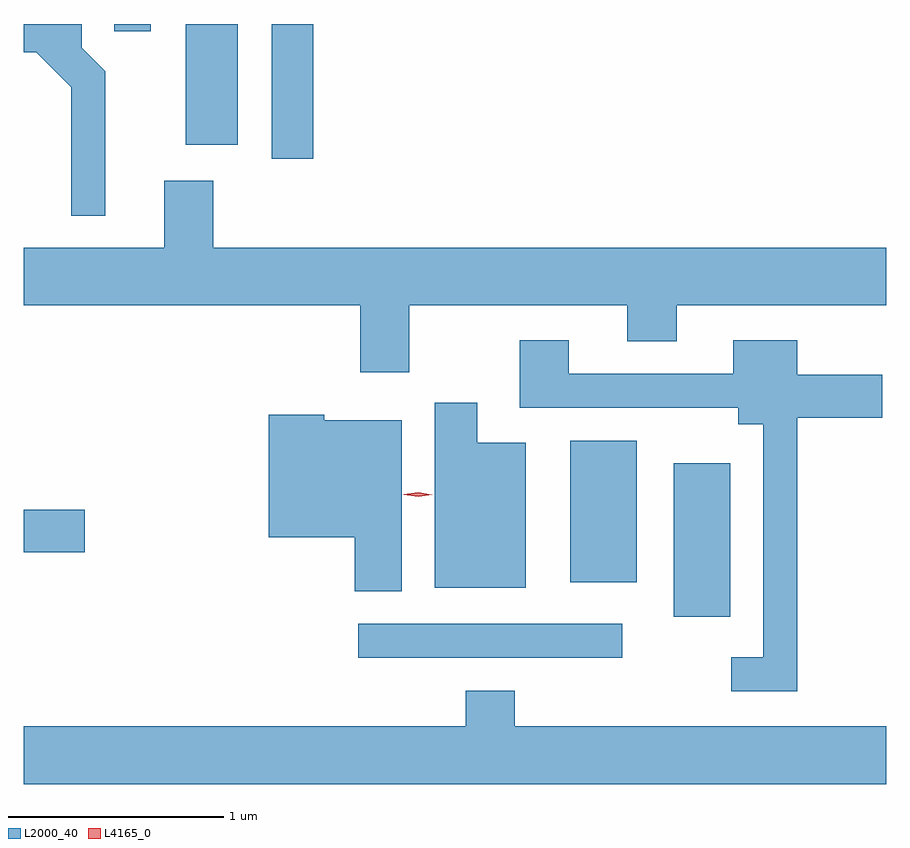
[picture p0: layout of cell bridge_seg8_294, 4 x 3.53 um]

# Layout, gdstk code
import gdstk
lib = gdstk.Library(unit=1e-6, precision=1e-09)
def R(c, l, rs):  # rectangles x0, y0, x1, y1
    for r in rs: c.add(gdstk.rectangle(r[:2], r[2:], *l))
def P(c, l, *ps):  # polygons
    for p in ps: c.add(gdstk.Polygon(p, *l))
L2000_40 = (2000, 40)
L4165_0 = (4165, 0)

bridge_seg8_294 = lib.new_cell('bridge_seg8_294')
R(bridge_seg8_294, L2000_40, [(1411.153,1841.441,1412.378,1841.599), (1412.616,1841.631,1412.879,1842.344), (1412.136,1841.791,1412.444,1842.449), (1409.601,1841.931,1409.884,1842.129), (1410.751,1843.756,1410.944,1844.382), (1410.351,1843.821,1410.594,1844.382), (1410.021,1844.348,1410.189,1844.382)])
P(bridge_seg8_294, L2000_40, [(1409.979,1844.162),(1409.869,1844.272),(1409.869,1844.382),(1409.601,1844.382),(1409.601,1844.251),(1409.659,1844.251),(1409.821,1844.089),(1409.821,1843.493),(1409.979,1843.493)],
  [(1411.389,1843.076),(1412.401,1843.076),(1412.401,1842.911),(1412.629,1842.911),(1412.629,1843.076),(1413.601,1843.076),(1413.601,1843.344),(1410.479,1843.344),(1410.479,1843.654),(1410.251,1843.654),(1410.251,1843.344),(1409.601,1843.344),(1409.601,1843.076),(1411.161,1843.076),(1411.161,1842.766),(1411.389,1842.766)],
  [(1413.189,1842.556),(1413.584,1842.556),(1413.584,1842.754),(1413.189,1842.754),(1413.189,1842.914),(1412.891,1842.914),(1412.891,1842.759),(1412.129,1842.759),(1412.129,1842.914),(1411.901,1842.914),(1411.901,1842.601),(1412.916,1842.601),(1412.916,1842.526),(1413.031,1842.526),(1413.031,1841.444),(1412.883,1841.444),(1412.883,1841.286),(1413.189,1841.286)],
  [(1411.929,1842.439),(1411.704,1842.439),(1411.704,1842.624),(1411.506,1842.624),(1411.506,1841.766),(1411.929,1841.766)],
  [(1411.354,1842.544),(1410.994,1842.544),(1410.994,1842.569),(1410.736,1842.569),(1410.736,1842.001),(1411.136,1842.001),(1411.136,1841.751),(1411.354,1841.751)],
  [(1413.601,1841.124),(1411.879,1841.124),(1411.879,1841.289),(1411.651,1841.289),(1411.651,1841.124),(1409.601,1841.124),(1409.601,1840.856),(1413.601,1840.856)])
P(bridge_seg8_294, L4165_0, [(1411.43,1842.189),(1411.364,1842.199),(1411.364,1842.199),(1411.364,1842.2),(1411.43,1842.209),(1411.496,1842.198),(1411.496,1842.198),(1411.496,1842.197)])

lib.write_gds('bridge_seg8_294.gds')
